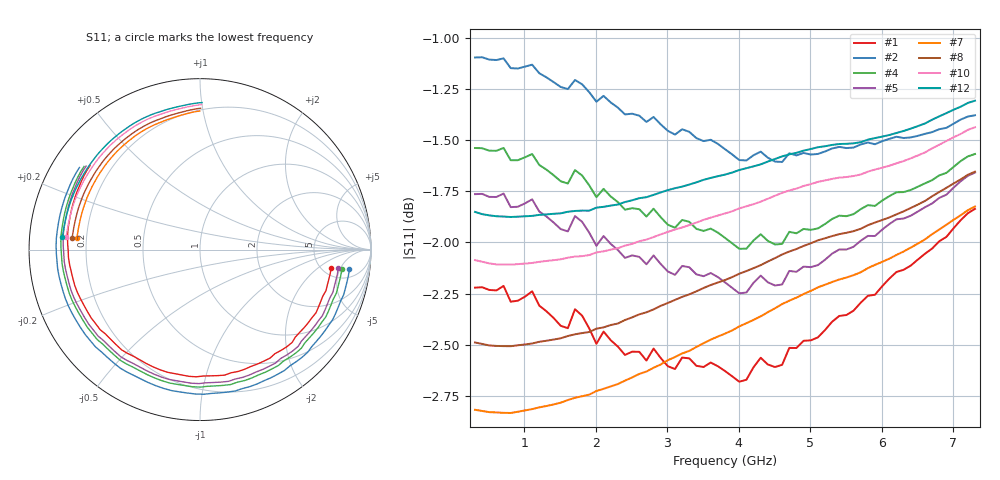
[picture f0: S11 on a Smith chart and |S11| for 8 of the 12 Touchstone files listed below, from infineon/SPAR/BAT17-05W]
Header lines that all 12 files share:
! Infineon Technologies  Discrete & RF Semiconductors
! BAT17-05W
! One-Port S-Parameters
# Hz  S  MA  R  50
!f  S11
!Hz  Mag  Ang
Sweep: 309.9 MHz to 7.306 GHz
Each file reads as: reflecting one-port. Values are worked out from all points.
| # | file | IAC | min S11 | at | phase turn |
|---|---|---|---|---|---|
| 1 | BAT17-05W_IAC_0.1mA.s1p | 0.1 mA | -2.7 dB | 4.008 GHz | -210 deg |
| 2 | BAT17-05W_IAC_0.05mA.s1p | 0.05 mA | -1.6 dB | 4.608 GHz | -207 deg |
| 3 | BAT17-05W_IAC_0.06mA.s1p | 0.06 mA | -1.8 dB | 4.108 GHz | -207 deg |
| 4 | BAT17-05W_IAC_0.07mA.s1p | 0.07 mA | -2.0 dB | 4.008 GHz | -208 deg |
| 5 | BAT17-05W_IAC_0.08mA.s1p | 0.08 mA | -2.2 dB | 4.008 GHz | -209 deg |
| 6 | BAT17-05W_IAC_0.09mA.s1p | 0.09 mA | -2.5 dB | 4.008 GHz | -209 deg |
| 7 | BAT17-05W_IAC_5mA.s1p | 5 mA | -2.8 dB | 809.6 MHz | -85 deg |
| 8 | BAT17-05W_IAC_6mA.s1p | 6 mA | -2.5 dB | 809.6 MHz | -85 deg |
| 9 | BAT17-05W_IAC_7mA.s1p | 7 mA | -2.3 dB | 709.6 MHz | -85 deg |
| 10 | BAT17-05W_IAC_8mA.s1p | 8 mA | -2.1 dB | 809.6 MHz | -85 deg |
| 11 | BAT17-05W_IAC_9mA.s1p | 9 mA | -2.0 dB | 809.6 MHz | -86 deg |
| 12 | BAT17-05W_IAC_10mA.s1p | 10 mA | -1.9 dB | 809.6 MHz | -86 deg |
